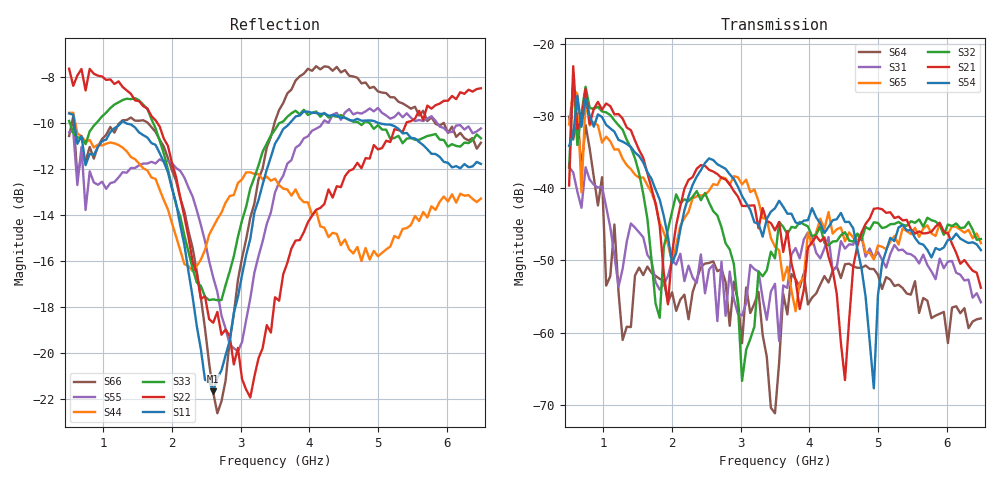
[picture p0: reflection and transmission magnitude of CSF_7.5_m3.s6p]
!Keysight Technologies,M9804A,MY58100912,A.14.10.03
!Date: Thursday, April 27, 2023 10:28:33
!Correction: S11(C  6-Port  )
!S12(C  6-Port  )
!S13(C  6-Port  )
!S14(C  6-Port  )
!S15(C  6-Port  )
!S16(C  6-Port  )
!S21(C  6-Port  )
!S22(C  6-Port  )
!S23(C  6-Port  )
!S24(C  6-Port  )
!S25(C  6-Port  )
!S26(C  6-Port  )
!S31(C  6-Port  )
!S32(C  6-Port  )
!S33(C  6-Port  )
!S34(C  6-Port  )
!S35(C  6-Port  )
!S36(C  6-Port  )
!S41(C  6-Port  )
!S42(C  6-Port  )
!S43(C  6-Port  )
!S44(C  6-Port  )
!S45(C  6-Port  )
!S46(C  6-Port  )
!S51(C  6-Port  )
!S52(C  6-Port  )
!S53(C  6-Port  )
!S54(C  6-Port  )
!S55(C  6-Port  )
!S56(C  6-Port  )
!S61(C  6-Port  )
!S62(C  6-Port  )
!S63(C  6-Port  )
!S64(C  6-Port  )
!S65(C  6-Port  )
!S66(C  6-Port  )
!S6P File: Measurement: :
# Hz S  RI  R 50
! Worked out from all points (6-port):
!   101 points, 500 MHz to 6.5 GHz, reference 50 ohm
!   strongest paths, dB at 500 MHz, 2 GHz, 3.5 GHz, 5 GHz, 6.5 GHz:
!     S54: -34.1, -50.4, -42.8, -54.8, -48.6
!     S21: -39.6, -49.0, -45.8, -42.8, -53.8
!     S32: -37.2, -43.3, -49.7, -44.8, -47.0
!     S65: -31.2, -50.3, -48.1, -47.9, -47.6
!     S31: -37.1, -50.0, -53.2, -48.8, -55.8
!     S64: -30.1, -54.4, -71.1, -52.0, -58.0
!   lowest |S11| = -21.6 dB at 2.6 GHz (marker M1), VSWR 1.18, Z = 42.6 + j2.1 ohm
!   |S11| at or under -10 dB: 577.2 MHz to 1.254 GHz (676.6 MHz wide, 73.9 % of centre); 1.326 GHz to 3.716 GHz (2.39 GHz wide, 94.8 % of centre); 5.012 GHz to end of sweep
